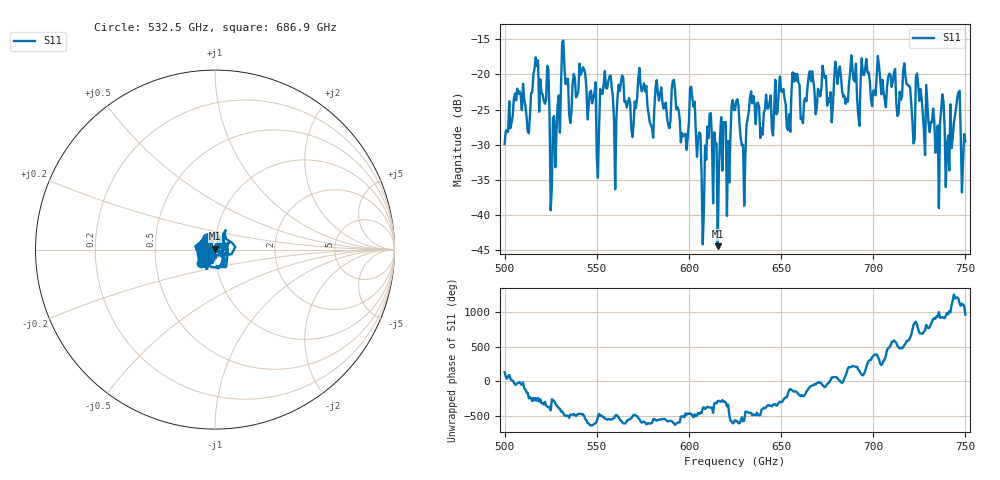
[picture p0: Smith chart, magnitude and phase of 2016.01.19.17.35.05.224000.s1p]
!Created with skrf (http://scikit-rf.org).
# GHz S RI R 50.0
!freq ReS11 ImS11
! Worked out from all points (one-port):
!   401 points, 500 GHz to 750 GHz, reference 50 ohm
!   lowest |S11| = -44.4 dB at 615.6 GHz (marker M1), VSWR 1.01, Z = 50.2 + j0.579 ohm
!   |S11| at or under -10 dB: start of sweep to end of sweep
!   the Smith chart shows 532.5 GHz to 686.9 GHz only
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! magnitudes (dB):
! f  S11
! 500 GHz  -29.9
! 506.9 GHz  -22.0
! 513.1 GHz  -28.4
! 516.9 GHz  -17.6
! 523.1 GHz  -18.8
! 526.2 GHz  -26.2
! 531.2 GHz  -15.4
! 541.9 GHz  -19.7
! 551.2 GHz  -27.7
! 553.1 GHz  -22.8
! 560 GHz  -36.3
! 562.5 GHz  -22.4
! 593.8 GHz  -24.7
! 598.1 GHz  -28.4
! 601.9 GHz  -23.5
! 608.1 GHz  -39.4
! 611.2 GHz  -25.6
! 615.6 GHz  -44.4
! 621.9 GHz  -35.4
! 625 GHz  -25.1
! 629.4 GHz  -30.0
! 633.8 GHz  -22.4
! 656.2 GHz  -19.7
! 687.5 GHz  -19.6
! 718.8 GHz  -21.5
! 734.4 GHz  -29.5
! 745.6 GHz  -23.3
! 750 GHz  -29.5
